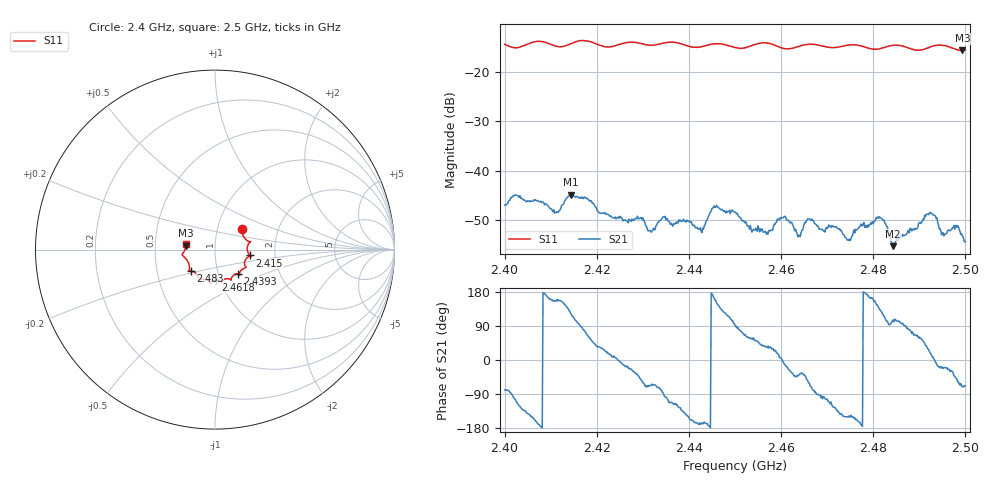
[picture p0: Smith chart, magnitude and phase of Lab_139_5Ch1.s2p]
# Hz S RI R 50
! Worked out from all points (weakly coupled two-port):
!   601 points, 2.4 GHz to 2.5 GHz, reference 50 ohm
!   highest |S21| = -44.86 dB at 2.4143 GHz (marker M1); lowest = -55.2 dB at 2.4843 GHz (marker M2)
!   lowest |S11| = -15.7 dB at 2.4993 GHz (marker M3), VSWR 1.39, Z = 36 + j1.58 ohm
!   |S11| at or under -10 dB: start of sweep to end of sweep
!   S12 and S22 are empty: the file has one direction only
!   S11 on the Smith chart (normalised r, x): 2.4 GHz: 1.31, +0.31; 2.415 GHz: 1.48, -0.10; 2.4393 GHz: 1.23, -0.35; 2.4618 GHz: 0.95, -0.33; 2.483 GHz: 0.74, -0.18; 2.5 GHz: 0.72, +0.05
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2.4e9  0.151 0.1144  0.000851 -0.00442  0 0  0 0
2.411333e9  0.18 0.0149  -0.0036 0.00138  0 0  0 0
2.414333e9  0.1899 -0.0267  -0.00311 0.00479  0 0  0 0
2.415e9  0.1947 -0.0323  -0.00206 0.00511  0 0  0 0
2.416667e9  0.2031 -0.0384  0.000235 0.0053  0 0  0 0
2.433333e9  0.1371 -0.1313  0.000923 -0.00287  0 0  0 0
2.439333e9  0.1259 -0.1356  -0.00247 -0.00178  0 0  0 0
2.442667e9  0.0959 -0.151  -0.00237 -0.000536  0 0  0 0
2.4455e9  0.0888 -0.1698  -0.00421 0.00133  0 0  0 0
2.45e9  0.0687 -0.1618  -0.000113 0.00383  0 0  0 0
2.456667e9  0.0438 -0.1911  0.00199 0.00141  0 0  0 0
2.461833e9  0.00382 -0.1707  0.00269 -0.00138  0 0  0 0
2.463833e9  -0.0191 -0.1799  0.00171 -0.00143  0 0  0 0
2.466667e9  -0.0259 -0.1883  0.000937 -0.00311  0 0  0 0
2.474667e9  -0.0835 -0.1667  -0.00167 -0.00105  0 0  0 0
2.481e9  -0.1156 -0.124  -0.00271 0.00207  0 0  0 0
2.483e9  -0.1354 -0.1181  -0.000616 0.00268  0 0  0 0
2.483333e9  -0.1382 -0.1177  -0.000153 0.00239  0 0  0 0
2.484333e9  -0.1433 -0.1175  -0.000469 0.00167  0 0  0 0
2.492167e9  -0.1717 -0.0414  0.00344 0.00147  0 0  0 0
2.499333e9  -0.163 0.0214  0.000789 -0.00206  0 0  0 0
2.5e9  -0.1632 0.0331  0.000705 -0.0018  0 0  0 0
